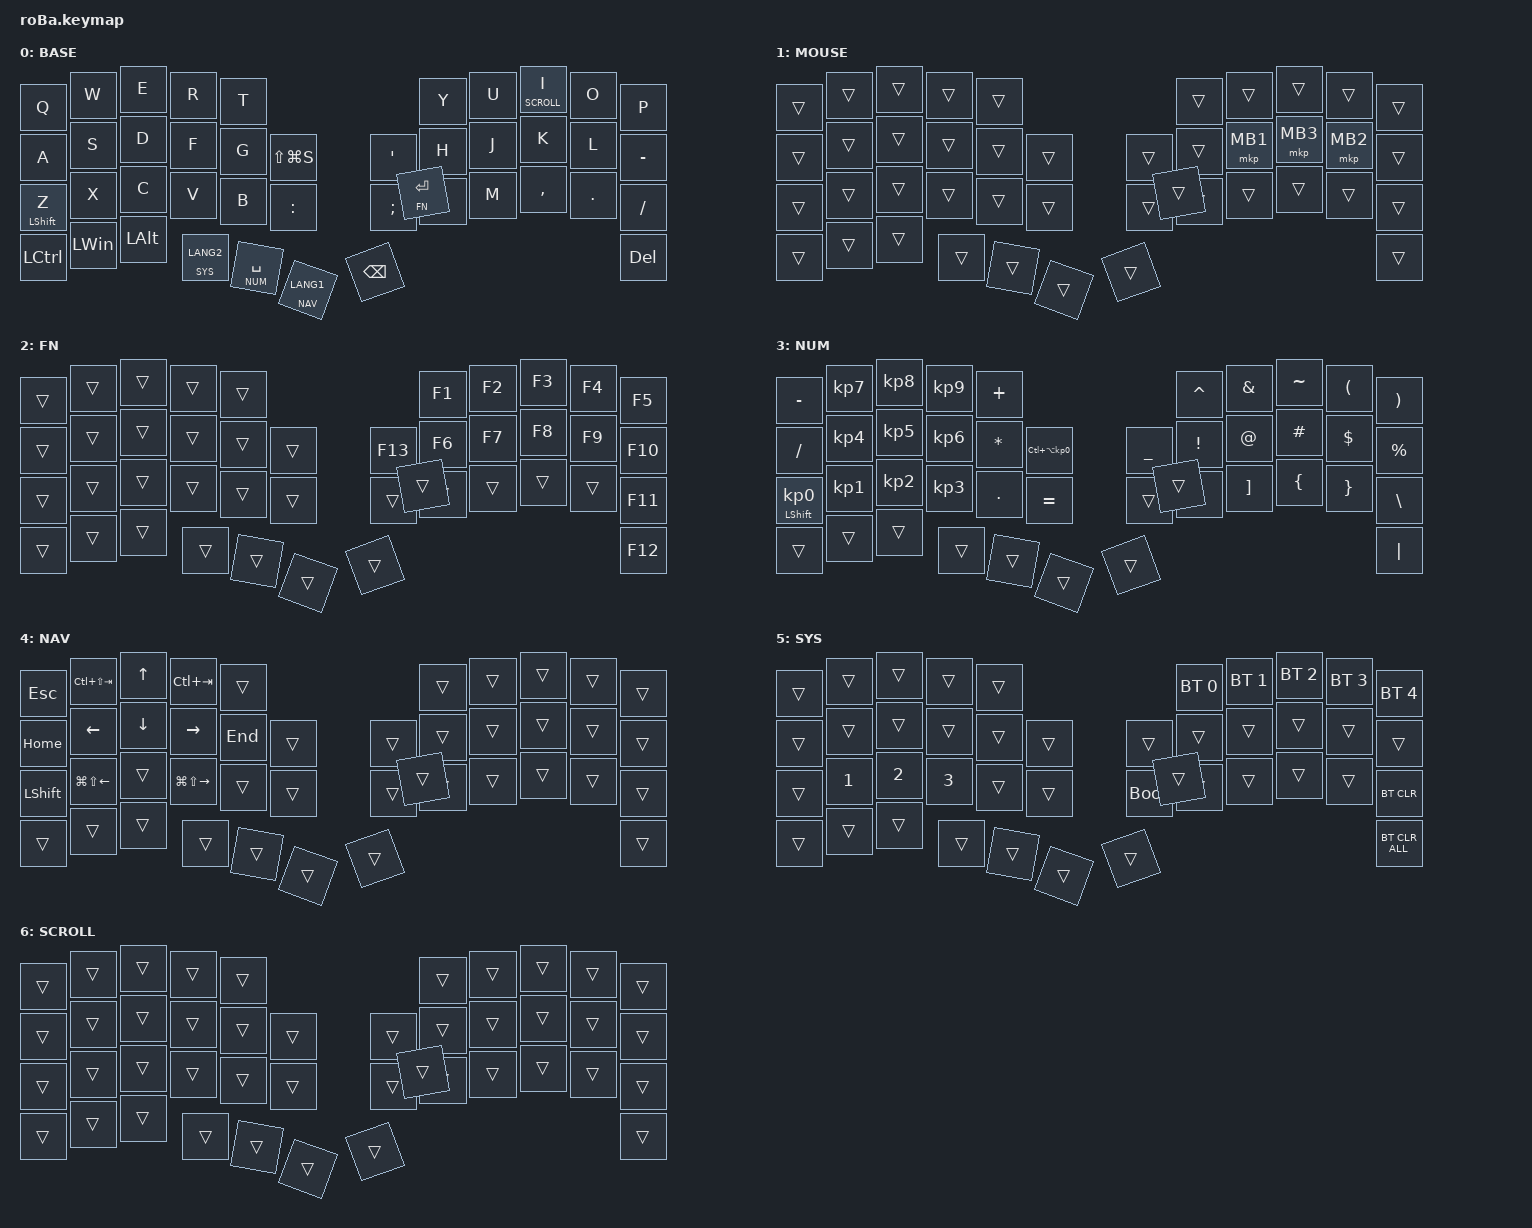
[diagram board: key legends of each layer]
#include <behaviors.dtsi>
#include <input/processors.dtsi>
#include <dt-bindings/zmk/bt.h>
#include <dt-bindings/zmk/keys.h>
#include <dt-bindings/zmk/pointing.h>

// 元配列のキー配置を使い、手動レイヤーは自動MOUSEより優先する。
#define BASE 0
#define MOUSE 1
#define FN 2
#define NUM 3
#define NAV 4
#define SYS 5
#define SCROLL 6

&mt {
    flavor = "balanced";
    tapping-term-ms = <200>;
    quick-tap-ms = <0>;
};

&lt {
    tapping-term-ms = <200>;
    quick-tap-ms = <0>;
};

// 現行の自動MOUSE制御を維持する。
&trackball {
    automouse-layer = <0>;
    scroll-layers = <SCROLL>;
};

&trackball_listener {
    input-processors = <&zip_temp_layer MOUSE 700>;
};

&zip_temp_layer {
    require-prior-idle-ms = <300>;
    // I/スクロール、J/K/Lクリック、Z/Shift、Ctrl/Win/Alt。
    excluded-positions = <7 18 19 20 22 34 35 36>;
};

/ {
    combos {
        compatible = "zmk,combos";

        // 通常層だけで使い、テンキー・移動入力とは競合させない。
        tab {
            bindings = <&kp TAB>;
            key-positions = <11 12>;
            layers = <BASE>;
        };

        shift_tab {
            bindings = <&kp LS(TAB)>;
            key-positions = <12 13>;
            layers = <BASE>;
        };

        ime_off {
            bindings = <&kp LANG2>;
            key-positions = <11 10>;
            layers = <BASE>;
        };

        double_quotation {
            bindings = <&kp DQT>;
            key-positions = <20 21>;
            layers = <BASE>;
        };

        eq {
            bindings = <&kp EQUAL>;
            key-positions = <24 25>;
            layers = <BASE>;
        };
    };

    keymap {
        compatible = "zmk,keymap";

        base_layer {
            display-name = "BASE";
            bindings = <
&kp Q             &kp W         &kp E         &kp R                        &kp T                                                          &kp Y        &kp U  &lt SCROLL I    &kp O    &kp P
&kp A             &kp S         &kp D         &kp F                        &kp G        &kp LS(LG(S))                      &kp SQT        &kp H        &kp J  &kp K      &kp L    &kp MINUS
&mt LEFT_SHIFT Z  &kp X         &kp C         &kp V                        &kp B        &kp COLON                          &kp SEMICOLON  &kp N        &kp M  &kp COMMA  &kp DOT  &kp SLASH
&kp LCTRL         &kp LEFT_WIN  &kp LEFT_ALT  &lt SYS LANG2  &lt NUM SPACE  &lt NAV LANG1      &kp BACKSPACE  &lt FN ENTER                             &kp DEL
            >;
        };

        mouse_layer {
            display-name = "MOUSE";
            bindings = <
&trans  &trans  &trans  &trans  &trans                      &trans  &trans    &trans    &trans    &trans
&trans  &trans  &trans  &trans  &trans  &trans      &trans  &trans  &mkp MB1  &mkp MB3  &mkp MB2  &trans
&trans  &trans  &trans  &trans  &trans  &trans      &trans  &trans  &trans    &trans    &trans    &trans
&trans  &trans  &trans  &trans  &trans  &trans      &trans  &trans                                &trans
            >;
        };

        fn_layer {
            display-name = "FN";
            bindings = <
&trans  &trans  &trans  &trans  &trans                       &kp F1  &kp F2  &kp F3  &kp F4  &kp F5
&trans  &trans  &trans  &trans  &trans  &trans      &kp F13  &kp F6  &kp F7  &kp F8  &kp F9  &kp F10
&trans  &trans  &trans  &trans  &trans  &trans      &trans   &trans  &trans  &trans  &trans  &kp F11
&trans  &trans  &trans  &trans  &trans  &trans      &trans   &trans                          &kp F12
            >;
        };

        num_layer {
            display-name = "NUM";
            bindings = <
&kp MINUS                   &kp KP_NUMBER_7  &kp KP_NUMBER_8  &kp KP_NUMBER_9  &kp PLUS                                                   &kp CARET         &kp AMPERSAND      &kp TILDE       &kp LEFT_PARENTHESIS  &kp RIGHT_PARENTHESIS
&kp SLASH                   &kp KP_NUMBER_4  &kp KP_NUMBER_5  &kp KP_NUMBER_6  &kp ASTERISK  &kp LC(LA(KP_NUMBER_0))      &kp UNDERSCORE  &kp EXCLAMATION   &kp AT_SIGN        &kp HASH        &kp DOLLAR            &kp PERCENT
&mt LEFT_SHIFT KP_NUMBER_0  &kp KP_NUMBER_1  &kp KP_NUMBER_2  &kp KP_NUMBER_3  &kp PERIOD    &kp EQUAL                    &trans          &kp LEFT_BRACKET  &kp RIGHT_BRACKET  &kp LEFT_BRACE  &kp RIGHT_BRACE       &kp BACKSLASH
&trans                      &trans           &trans           &trans           &trans        &trans                       &trans          &trans                                                                     &kp PIPE
            >;
        };

        nav_layer {
            display-name = "NAV";
            bindings = <
&kp ESCAPE      &kp LC(LS(TAB))         &kp UP_ARROW    &kp LC(TAB)              &trans                       &trans  &trans  &trans  &trans  &trans
&kp HOME        &kp LEFT_ARROW          &kp DOWN_ARROW  &kp RIGHT_ARROW          &kp END  &trans      &trans  &trans  &trans  &trans  &trans  &trans
&kp LEFT_SHIFT  &kp LG(LS(LEFT_ARROW))  &trans          &kp LG(LS(RIGHT_ARROW))  &trans   &trans      &trans  &trans  &trans  &trans  &trans  &trans
&trans          &trans                  &trans          &trans                   &trans   &trans      &trans  &trans                          &trans
            >;
        };

        sys_layer {
            display-name = "SYS";
            bindings = <
&trans  &trans        &trans        &trans        &trans                           &bt BT_SEL 0  &bt BT_SEL 1  &bt BT_SEL 2  &bt BT_SEL 3  &bt BT_SEL 4
&trans  &trans        &trans        &trans        &trans  &trans      &trans       &trans        &trans        &trans        &trans        &trans
&trans  &kp NUMBER_1  &kp NUMBER_2  &kp NUMBER_3  &trans  &trans      &bootloader  &trans        &trans        &trans        &trans        &bt BT_CLR
&trans  &trans        &trans        &trans        &trans  &trans      &trans       &trans                                                  &bt BT_CLR_ALL
            >;
        };

        scroll_layer {
            display-name = "SCROLL";
            bindings = <
&trans  &trans  &trans  &trans  &trans                      &trans  &trans  &trans  &trans  &trans
&trans  &trans  &trans  &trans  &trans  &trans      &trans  &trans  &trans  &trans  &trans  &trans
&trans  &trans  &trans  &trans  &trans  &trans      &trans  &trans  &trans  &trans  &trans  &trans
&trans  &trans  &trans  &trans  &trans  &trans      &trans  &trans                          &trans
            >;
        };
    };
};
